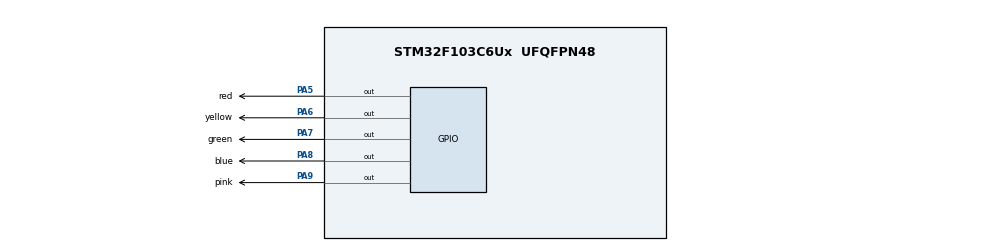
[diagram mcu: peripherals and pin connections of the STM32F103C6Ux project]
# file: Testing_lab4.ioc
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Mcu.Family=STM32F1
Mcu.Name=STM32F103C6Ux
Mcu.Package=UFQFPN48
NVIC.PriorityGroup=NVIC_PRIORITYGROUP_4
NVIC.TIM2_IRQn=true\:0\:0\:false\:false\:true\:true\:true\:true
PA5.GPIO_Label=red
PA5.Signal=GPIO_Output
PA6.GPIO_Label=yellow
PA6.Signal=GPIO_Output
PA7.GPIO_Label=green
PA7.Signal=GPIO_Output
PA8.GPIO_Label=blue
PA8.Signal=GPIO_Output
PA9.GPIO_Label=pink
PA9.Signal=GPIO_Output
ProjectManager.HeapSize=0x200
ProjectManager.StackSize=0x400
ProjectManager.TargetToolchain=STM32CubeIDE
RCC.APB1Freq_Value=8000000
RCC.APB2Freq_Value=8000000
TIM2.Period=7999
TIM2.Prescaler=9
VP_TIM2_VS_ClockSourceINT.Mode=Internal
board=custom

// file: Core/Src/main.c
/* USER CODE BEGIN Header */
/**
  ******************************************************************************
  * @file           : main.c
  * @brief          : Main program body
  ******************************************************************************
  * @attention
  *
  * Copyright (c) 2023 STMicroelectronics.
  * All rights reserved.
  *
  * This software is licensed under terms that can be found in the LICENSE file
  * in the root directory of this software component.
  * If no LICENSE file comes with this software, it is provided AS-IS.
  *
  ******************************************************************************
  */
/* USER CODE END Header */
#include "main.h"

/* USER CODE BEGIN Includes */

#include "timer.h"
#include "SCH.h"
/* USER CODE END Includes */

TIM_HandleTypeDef htim2;

void SystemClock_Config(void);
static void MX_GPIO_Init(void);
static void MX_TIM2_Init(void);

/* USER CODE BEGIN 0 */
void led1test(){
	HAL_GPIO_TogglePin(GPIOA, GPIO_PIN_5);
}
void led2test(){
	HAL_GPIO_TogglePin(GPIOA, GPIO_PIN_6);
}
void led3test(){
	HAL_GPIO_TogglePin(GPIOA, GPIO_PIN_7);
}
void led4test(){
	HAL_GPIO_TogglePin(GPIOA, GPIO_PIN_8);
}
void led5test(){
	HAL_GPIO_TogglePin(GPIOA, GPIO_PIN_9);
}
/* USER CODE END 0 */

int main(void)
{

  /* MCU Configuration--------------------------------------------------------*/

  /* Reset of all peripherals, Initializes the Flash interface and the Systick. */
  HAL_Init();

  /* Configure the system clock */
  SystemClock_Config();

  /* Initialize all configured peripherals */
  MX_GPIO_Init();
  MX_TIM2_Init();
  /* USER CODE BEGIN 2 */
  HAL_TIM_Base_Start_IT (&htim2);
  /* USER CODE END 2 */

  /* Infinite loop */
  /* USER CODE BEGIN WHILE */
  SCH_Add_Task(led1test, 0 /*500ms*/, 50 /*500ms*/);
  SCH_Add_Task(led2test, 50, 100);
  SCH_Add_Task(led3test, 0, 150);
  SCH_Add_Task(led4test, 50, 200);
  SCH_Add_Task(led5test, 0, 250);
  while (1)
  {
    /* USER CODE END WHILE */
	  SCH_Dispatch_Tasks();
  }
}

void SystemClock_Config(void)
{
  RCC_OscInitTypeDef RCC_OscInitStruct = {0};
  RCC_ClkInitTypeDef RCC_ClkInitStruct = {0};

  /** Initializes the RCC Oscillators according to the specified parameters
  * in the RCC_OscInitTypeDef structure.
  */
  RCC_OscInitStruct.OscillatorType = RCC_OSCILLATORTYPE_HSI;
  RCC_OscInitStruct.HSIState = RCC_HSI_ON;
  RCC_OscInitStruct.HSICalibrationValue = RCC_HSICALIBRATION_DEFAULT;
  RCC_OscInitStruct.PLL.PLLState = RCC_PLL_NONE;
  if (HAL_RCC_OscConfig(&RCC_OscInitStruct) != HAL_OK)
  {
    Error_Handler();
  }

  /** Initializes the CPU, AHB and APB buses clocks
  */
  RCC_ClkInitStruct.ClockType = RCC_CLOCKTYPE_HCLK|RCC_CLOCKTYPE_SYSCLK
                              |RCC_CLOCKTYPE_PCLK1|RCC_CLOCKTYPE_PCLK2;
  RCC_ClkInitStruct.SYSCLKSource = RCC_SYSCLKSOURCE_HSI;
  RCC_ClkInitStruct.AHBCLKDivider = RCC_SYSCLK_DIV1;
  RCC_ClkInitStruct.APB1CLKDivider = RCC_HCLK_DIV1;
  RCC_ClkInitStruct.APB2CLKDivider = RCC_HCLK_DIV1;

  if (HAL_RCC_ClockConfig(&RCC_ClkInitStruct, FLASH_LATENCY_0) != HAL_OK)
  {
    Error_Handler();
  }
}

static void MX_TIM2_Init(void)
{

  TIM_ClockConfigTypeDef sClockSourceConfig = {0};
  TIM_MasterConfigTypeDef sMasterConfig = {0};

  htim2.Instance = TIM2;
  htim2.Init.Prescaler = 9;
  htim2.Init.CounterMode = TIM_COUNTERMODE_UP;
  htim2.Init.Period = 7999;
  htim2.Init.ClockDivision = TIM_CLOCKDIVISION_DIV1;
  htim2.Init.AutoReloadPreload = TIM_AUTORELOAD_PRELOAD_DISABLE;
  if (HAL_TIM_Base_Init(&htim2) != HAL_OK)
  {
    Error_Handler();
  }
  sClockSourceConfig.ClockSource = TIM_CLOCKSOURCE_INTERNAL;
  if (HAL_TIM_ConfigClockSource(&htim2, &sClockSourceConfig) != HAL_OK)
  {
    Error_Handler();
  }
  sMasterConfig.MasterOutputTrigger = TIM_TRGO_RESET;
  sMasterConfig.MasterSlaveMode = TIM_MASTERSLAVEMODE_DISABLE;
  if (HAL_TIMEx_MasterConfigSynchronization(&htim2, &sMasterConfig) != HAL_OK)
  {
    Error_Handler();
  }

}

static void MX_GPIO_Init(void)
{
  GPIO_InitTypeDef GPIO_InitStruct = {0};

  /* GPIO Ports Clock Enable */
  __HAL_RCC_GPIOA_CLK_ENABLE();

  /*Configure GPIO pin Output Level */
  HAL_GPIO_WritePin(GPIOA, red_Pin|yellow_Pin|green_Pin|blue_Pin
                          |pink_Pin, GPIO_PIN_RESET);

  /*Configure GPIO pins : red_Pin yellow_Pin green_Pin blue_Pin
                           pink_Pin */
  GPIO_InitStruct.Pin = red_Pin|yellow_Pin|green_Pin|blue_Pin
                          |pink_Pin;
  GPIO_InitStruct.Mode = GPIO_MODE_OUTPUT_PP;
  GPIO_InitStruct.Pull = GPIO_NOPULL;
  GPIO_InitStruct.Speed = GPIO_SPEED_FREQ_LOW;
  HAL_GPIO_Init(GPIOA, &GPIO_InitStruct);

}

/* USER CODE BEGIN 4 */
void HAL_TIM_PeriodElapsedCallback(TIM_HandleTypeDef *htim)
{
	SCH_Update();
}
/* USER CODE END 4 */

void Error_Handler(void)
{
  __disable_irq();
  while (1)
  {
  }
}
